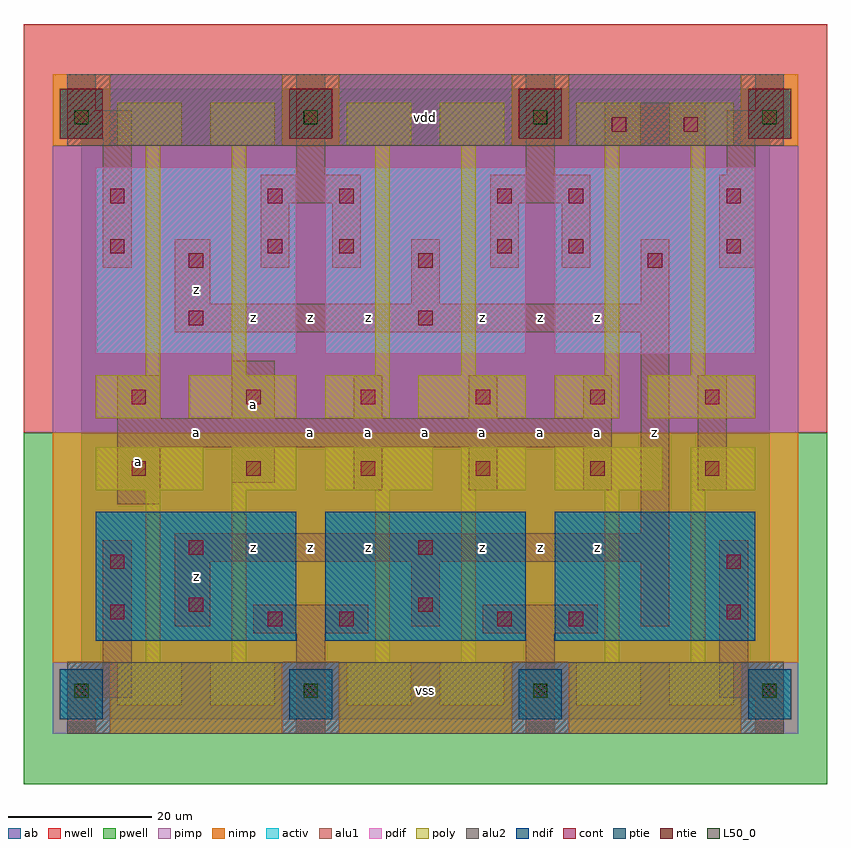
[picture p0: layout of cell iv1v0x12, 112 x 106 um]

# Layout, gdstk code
import gdstk
lib = gdstk.Library(unit=1e-6, precision=1e-09)
def R(c, l, rs):  # rectangles x0, y0, x1, y1
    for r in rs: c.add(gdstk.rectangle(r[:2], r[2:], *l))
def A(c, l, x, y, w, h, nx, ny, dx, dy):  # array of equal rectangles
    R(c, l, [(x+i*dx, y+j*dy, x+i*dx+w, y+j*dy+h) for i in range(nx) for j in range(ny)])
ndif = (3, 0)
pdif = (4, 0)
ntie = (5, 0)
ptie = (6, 0)
cont = (25, 0)
pwell = (41, 0)
nwell = (42, 0)
activ = (43, 0)
pimp = (44, 0)
nimp = (45, 0)
poly = (46, 0)
alu1 = (49, 0)
L50_0 = (50, 0)
alu2 = (51, 0)
ab = (63, 0)

iv1v0x12 = lib.new_cell('iv1v0x12')
A(iv1v0x12, ndif, 2, 11, 28, 18, 3, 1, 32, 0)
A(iv1v0x12, pdif, 2, 51, 28, 26, 3, 1, 32, 0)
A(iv1v0x12, ntie, -3, 81, 6, 7, 4, 1, 32, 0)
A(iv1v0x12, ptie, -3, 0, 6, 7, 4, 1, 32, 0)
A(iv1v0x12, cont, -1, 3, 2, 2, 4, 2, 32, 80)
A(iv1v0x12, cont, 7, 34, 2, 2, 6, 2, 16, 10)
A(iv1v0x12, cont, 15, 63, 2, 2, 3, 1, 32, 0)
R(iv1v0x12, cont, [(26,13,28,15), (36,13,38,15), (58,13,60,15), (68,13,70,15), (4,14,6,16), (90,14,92,16), (15,15,17,17), (47,15,49,17), (4,21,6,23), (90,21,92,23), (15,23,17,25), (47,23,49,25), (15,55,17,57), (47,55,49,57), (4,65,6,67), (26,65,28,67), (36,65,38,67), (58,65,60,67), (68,65,70,67), (90,65,92,67), (4,72,6,74), (26,72,28,74), (36,72,38,74), (58,72,60,74), (68,72,70,74), (90,72,92,74), (74,82,76,84), (84,82,86,84)])
R(iv1v0x12, pwell, [(-8,-9,104,40)])
R(iv1v0x12, nwell, [(-8,40,104,97)])
A(iv1v0x12, activ, -3, 0, 6, 7, 4, 2, 32, 81)
A(iv1v0x12, activ, 2, 11, 28, 18, 3, 1, 32, 0)
A(iv1v0x12, activ, 2, 51, 28, 26, 3, 1, 32, 0)
A(iv1v0x12, pimp, -4, -2, 8, 10, 4, 1, 32, 0)
A(iv1v0x12, pimp, 4, 80, 24, 10, 3, 1, 32, 0)
R(iv1v0x12, pimp, [(-4,40,100,80)])
A(iv1v0x12, nimp, 4, -2, 24, 10, 3, 1, 32, 0)
A(iv1v0x12, nimp, -4, 80, 8, 10, 4, 1, 32, 0)
R(iv1v0x12, nimp, [(-4,8,100,40)])
A(iv1v0x12, poly, 2, 32, 15, 6, 3, 1, 32, 0)
A(iv1v0x12, poly, 21, 32, 9, 6, 3, 1, 32, 0)
A(iv1v0x12, poly, 2, 42, 9, 6, 3, 1, 32, 0)
A(iv1v0x12, poly, 15, 42, 15, 6, 3, 1, 32, 0)
R(iv1v0x12, poly, [(5,2,14,8), (18,2,27,8), (37,2,46,8), (50,2,59,8), (69,2,78,8), (82,2,91,8), (9,8,11,32), (21,8,23,32), (41,8,43,32), (53,8,55,32), (73,8,75,32), (85,8,87,32), (9,48,11,80), (21,48,23,80), (41,48,43,80), (53,48,55,80), (73,48,75,80), (85,48,87,80), (5,80,14,86), (18,80,27,86), (37,80,46,86), (50,80,59,86), (69,80,78,86), (82,80,91,86)])
A(iv1v0x12, alu1, 38, 32, 4, 6, 3, 2, 16, 10)
R(iv1v0x12, alu1, [(-2,-2,2,3), (30,-2,34,12), (62,-2,66,12), (94,-2,98,3), (-2,3,7,7), (89,3,98,7), (3,7,7,25), (89,7,93,25), (24,12,40,16), (56,12,72,16), (13,13,18,22), (46,13,50,22), (78,13,82,22), (13,22,82,26), (78,26,82,54), (5,30,11,38), (86,32,90,48), (21,33,27,38), (5,38,74,42), (5,42,11,48), (21,42,27,50), (13,54,82,58), (13,58,18,67), (46,58,50,67), (78,58,82,67), (3,63,7,81), (25,63,29,72), (35,63,39,72), (57,63,61,72), (67,63,71,72), (89,63,94,76), (25,72,39,76), (57,72,71,76), (30,76,34,90), (62,76,66,90), (90,76,94,81), (73,80,87,86), (-2,81,7,85), (90,81,98,85), (-2,85,2,90), (94,85,98,90)])
A(iv1v0x12, L50_0, -1, 3, 2, 2, 4, 2, 32, 80)
R(iv1v0x12, alu2, [(-2,-2,98,8), (-2,80,98,90)])
R(iv1v0x12, ab, [(0,0,96,88)])
iv1v0x12.add(gdstk.Label('a', (8,36), layer=49, texttype=0))
iv1v0x12.add(gdstk.Label('z', (16,20), layer=49, texttype=0))
iv1v0x12.add(gdstk.Label('z', (32,24), layer=49, texttype=0))
iv1v0x12.add(gdstk.Label('z', (24,24), layer=49, texttype=0))
iv1v0x12.add(gdstk.Label('a', (16,40), layer=49, texttype=0))
iv1v0x12.add(gdstk.Label('a', (32,40), layer=49, texttype=0))
iv1v0x12.add(gdstk.Label('a', (24,44), layer=49, texttype=0))
iv1v0x12.add(gdstk.Label('z', (24,56), layer=49, texttype=0))
iv1v0x12.add(gdstk.Label('z', (32,56), layer=49, texttype=0))
iv1v0x12.add(gdstk.Label('z', (16,60), layer=49, texttype=0))
iv1v0x12.add(gdstk.Label('z', (40,24), layer=49, texttype=0))
iv1v0x12.add(gdstk.Label('z', (56,24), layer=49, texttype=0))
iv1v0x12.add(gdstk.Label('a', (40,40), layer=49, texttype=0))
iv1v0x12.add(gdstk.Label('a', (56,40), layer=49, texttype=0))
iv1v0x12.add(gdstk.Label('a', (48,40), layer=49, texttype=0))
iv1v0x12.add(gdstk.Label('z', (56,56), layer=49, texttype=0))
iv1v0x12.add(gdstk.Label('z', (40,56), layer=49, texttype=0))
iv1v0x12.add(gdstk.Label('z', (72,24), layer=49, texttype=0))
iv1v0x12.add(gdstk.Label('z', (64,24), layer=49, texttype=0))
iv1v0x12.add(gdstk.Label('a', (72,40), layer=49, texttype=0))
iv1v0x12.add(gdstk.Label('a', (64,40), layer=49, texttype=0))
iv1v0x12.add(gdstk.Label('z', (64,56), layer=49, texttype=0))
iv1v0x12.add(gdstk.Label('z', (72,56), layer=49, texttype=0))
iv1v0x12.add(gdstk.Label('z', (80,40), layer=49, texttype=0))
iv1v0x12.add(gdstk.Label('vss', (48,4), layer=51, texttype=0))
iv1v0x12.add(gdstk.Label('vdd', (48,84), layer=51, texttype=0))

lib.write_gds('iv1v0x12.gds')
